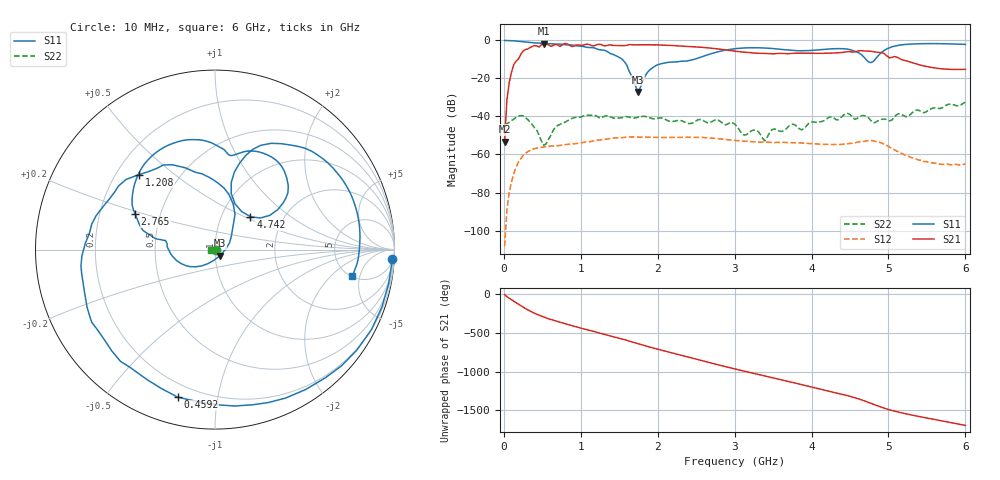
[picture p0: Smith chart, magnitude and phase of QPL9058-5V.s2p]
!  13.04.2021  18:40:08
! Ref Plane: 0,000 mm
# MHZ S MA R  50
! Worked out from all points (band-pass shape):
!   201 points, 10 MHz to 6 GHz, reference 50 ohm
!   highest |S21| = -1.69 dB at 519.1 MHz (marker M1); lowest = -53.2 dB at 10 MHz (marker M2)
!   |S21| within 3 dB of the highest: 298.9 MHz to 2.812 GHz (2.513 GHz wide, 162 % of centre)
!   lowest |S11| = -27.2 dB at 1.747 GHz (marker M3), VSWR 1.09, Z = 52.8 - j3.53 ohm
!   |S11| at or under -10 dB: 1.539 GHz to 2.474 GHz (935.1 MHz wide, 46.6 % of centre); 4.707 GHz to 4.827 GHz (120 MHz wide, 2.52 % of centre)
!   |S22| runs from -55.1 to -32.5 dB; largest |S21 - S12| = 0.82
!   S11 on the Smith chart (normalised r, x): 10 MHz: 7, -36; 459.2 MHz: 0.13, -0.77; 1.208 GHz: 0.29, +0.38; 2.765 GHz: 0.36, +0.19; 4.742 GHz: 1.37, +0.54; 6 GHz: 5.15, -3.83
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10  0.99 -3.1  0.002187 -4.4  3.908e-06 119.8  0.00612 -12.5
39.95  0.9859 -11.0  0.02748 -33.4  3.488e-05 166.3  0.00637 -41.5
129.8  0.9686 -35.3  0.2297 -91.5  0.0003184 124.5  0.00853 -121.4
279.55  0.9022 -70.9  0.5718 175.9  0.001061 46.0  0.00929 139.2
459.25  0.8478 -104.2  0.6661 88.9  0.001507 -22.9  0.00316 89.3
519.15  0.8181 -117.1  0.8233 65.4  0.001577 -40.5  0.00175 106.1
788.7  0.7655 -161.6  0.8225 -18.6  0.001806 -106.9  0.00696 141.7
1028.3  0.6884 164.0  0.7396 -84.4  0.002077 -158.7  0.01013 103.6
1208  0.5949 135.4  0.7684 -131.5  0.002362 161.6  0.01014 91.0
1447.6  0.4008 94.0  0.7312 164.6  0.002732 104.8  0.00898 72.8
1747.1  0.04377 -49.7  0.7659 80.1  0.002859 31.1  0.00963 60.7
2016.65  0.2334 -168.7  0.754 5.4  0.002818 -30.0  0.00911 41.9
2376.05  0.285 169.7  0.6948 -85.4  0.002844 -110.8  0.00668 44.5
2765.4  0.4867 156.1  0.5999 173.4  0.002634 158.0  0.0082 18.2
3005  0.601 134.9  0.5187 114.8  0.002349 105.0  0.00622 7.8
3394.35  0.6259 101.8  0.4519 25.9  0.002108 24.4  0.00229 31.5
3544.1  0.5951 91.8  0.4488 -8.6  0.002079 -6.8  0.00453 46.0
4023.3  0.5463 77.1  0.4556 -124.6  0.001929 -114.9  0.0072 38.8
4412.65  0.6001 53.6  0.4846 144.1  0.001861 160.9  0.0107 -0.8
4742.1  0.2695 42.8  0.5208 42.1  0.002323 71.6  0.00916 -26.5
5011.65  0.6347 66.3  0.3464 -52.5  0.001583 -22.3  0.00764 -44.8
6000  0.7795 -10.8  0.1724 105.9  0.0005677 145.5  0.02366 -168.9
